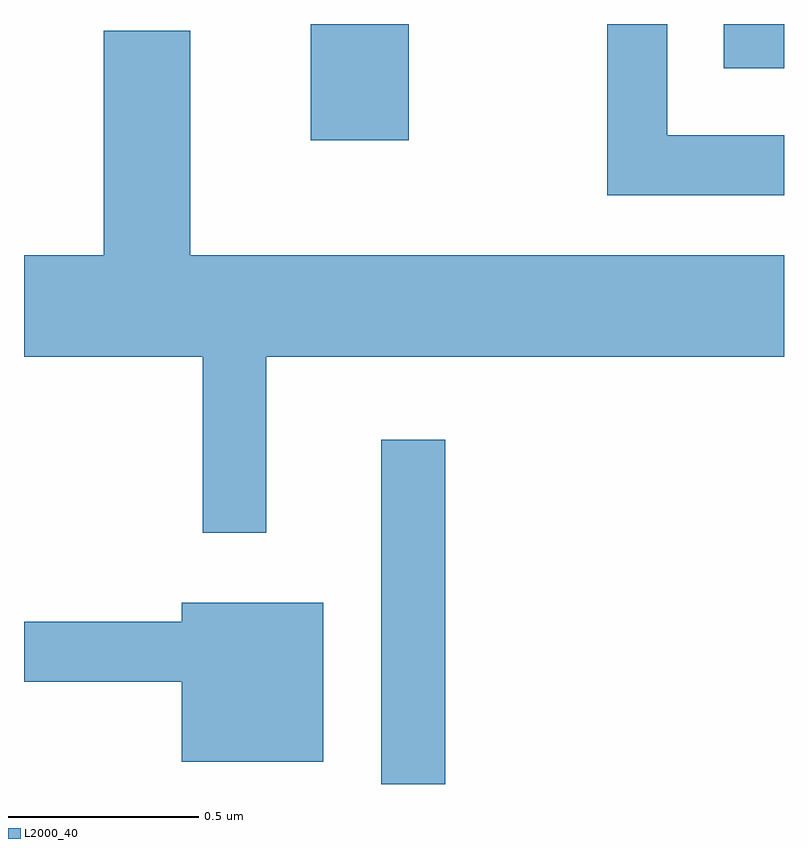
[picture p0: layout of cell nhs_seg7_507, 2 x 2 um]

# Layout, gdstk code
import gdstk
lib = gdstk.Library(unit=1e-6, precision=1e-09)
def R(c, l, rs):  # rectangles x0, y0, x1, y1
    for r in rs: c.add(gdstk.rectangle(r[:2], r[2:], *l))
def P(c, l, *ps):  # polygons
    for p in ps: c.add(gdstk.Polygon(p, *l))
L2000_40 = (2000, 40)

nhs_seg7_507 = lib.new_cell('nhs_seg7_507')
R(nhs_seg7_507, L2000_40, [(189.551,1764.252,189.719,1765.158), (189.366,1765.946,189.624,1766.252), (190.453,1766.136,190.611,1766.252)])
P(nhs_seg7_507, L2000_40, [(190.611,1765.959),(190.304,1765.959),(190.304,1766.252),(190.146,1766.252),(190.146,1765.801),(190.611,1765.801)],
  [(189.249,1765.376),(190.611,1765.376),(190.611,1765.644),(189.049,1765.644),(189.049,1766.234),(188.821,1766.234),(188.821,1765.644),(188.611,1765.644),(188.611,1765.376),(189.081,1765.376),(189.081,1764.913),(189.249,1764.913)],
  [(189.399,1764.729),(189.026,1764.729),(189.026,1764.679),(188.611,1764.679),(188.611,1764.521),(189.026,1764.521),(189.026,1764.311),(189.399,1764.311)])

lib.write_gds('nhs_seg7_507.gds')
